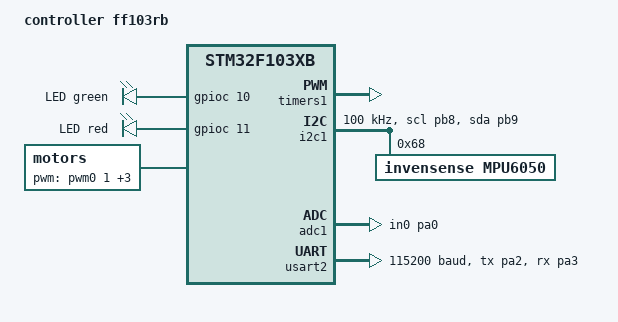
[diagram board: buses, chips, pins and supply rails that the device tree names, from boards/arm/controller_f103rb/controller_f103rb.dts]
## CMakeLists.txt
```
# SPDX-License-Identifier: Apache-2.0

cmake_minimum_required(VERSION 3.13.1)

list(APPEND BOARD_ROOT ${CMAKE_CURRENT_SOURCE_DIR})
find_package(Zephyr REQUIRED HINTS $ENV{ZEPHYR_BASE})
project(app)

target_sources(app PRIVATE src/main.c)
target_sources(app PRIVATE src/controller.c)
target_sources(app PRIVATE src/battery.c)
target_sources(app PRIVATE src/imu.c)

zephyr_include_directories(include)
```

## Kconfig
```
rsource "modules/Kconfig"
rsource "drivers/Kconfig"
```

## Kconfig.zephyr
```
menu "Application options"

rsource "modules/Kconfig"
rsource "drivers/Kconfig"

endmenu
```

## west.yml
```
manifest:
  defaults:
    remote: upstream
  remotes:
    - name: upstream
      url-base: https://github.com/zephyrproject-rtos
    - name: custom
      url-base: https://github.com/MaroMetelski
  projects:
    - name: cmsis
      remote: custom
      revision: 215867ae005e432be1dbcb24c07735d051cd7d29
      path: modules/hal/cmsis
    - name: loramac-node
      revision: 2cee5f7295ff0ff804bf06fea5de006bc7cd121e
      path: modules/lib/loramac-node
    - name: zephyr
      revision: 45eca4ce10a83fffc0c66d9770380cd716150a42
      path: zephyr
      west-commands: scripts/west-commands.yml
    - name: hal_stm32
      revision: 50283e0438d882a80fb681907664491c7042c817
      path: modules/hal/stm32
  self:
    path: app
```

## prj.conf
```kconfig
# serial shell and logs
CONFIG_CONSOLE=y
CONFIG_UART_CONSOLE=y
CONFIG_SHELL=y
CONFIG_SHELL_BACKEND_SERIAL=y
CONFIG_PRINTK=y
CONFIG_LOG_PRINTK=y
CONFIG_LOG=y
CONFIG_LOG_STRDUP_BUF_COUNT=8
CONFIG_LOG_STRDUP_MAX_STRING=128

# new libc
CONFIG_NEWLIB_LIBC=y
CONFIG_NEWLIB_LIBC_FLOAT_PRINTF=y

# threading
CONFIG_THREAD_NAME=y

# maths
CONFIG_CMSIS_DSP=y
CONFIG_CMSIS_DSP_CONTROLLER=y
CONFIG_CMSIS_DSP_FASTMATH=y
CONFIG_CMSIS_DSP_QUATERNIONMATH=y

# mpu6050
CONFIG_MPU6050_TRIGGER_NONE=y

#bcm
CONFIG_BCM=y
CONFIG_BCM_SYS=y
CONFIG_BCM_LOG_LEVEL_DBG=y
```

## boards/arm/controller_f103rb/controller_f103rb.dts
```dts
/dts-v1/;
#include <st/f1/stm32f103Xb.dtsi>
#include <st/f1/stm32f103r(8-b)tx-pinctrl.dtsi>

/ {
  model = "controller ff103rb";
  compatible = "metelski,controller-f103rb";

  chosen {
    zephyr,sram = &sram0;
    zephyr,flash = &flash0;
    zephyr,console = &usart2;
    zephyr,shell-uart = &usart2;
  };

  aliases {
    led0 = &green_led;
    led1 = &red_led;
  };

  leds {
    compatible = "gpio-leds";
    green_led: led_0 {
      gpios = <&gpioc 10 GPIO_ACTIVE_HIGH>;
      label = "LED green";
    };
    red_led: led_1 {
      gpios = <&gpioc 11 GPIO_ACTIVE_HIGH>;
      label = "LED red";
    };
  };

  motors {
    compatible = "motors";
    status = "okay";
    pwms = <&pwm0 1 100000 PWM_POLARITY_NORMAL>,
           <&pwm0 2 100000 PWM_POLARITY_NORMAL>,
           <&pwm0 3 100000 PWM_POLARITY_NORMAL>,
           <&pwm0 4 100000 PWM_POLARITY_NORMAL>;
   };
};

&timers1 {
  status = "okay";
  pwm0: pwm {
    pinctrl-0 = <&tim1_ch1_pwm_pa8 &tim1_ch2_pwm_pa9
                 &tim1_ch3_pwm_pa10 &tim1_ch4_pwm_pa11>;
    status = "okay";
  };
};

&i2c1 {
  status = "okay";
  pinctrl-0 = <&i2c1_scl_pb8 &i2c1_sda_pb9>;
  clock-frequency = <I2C_BITRATE_STANDARD>;

  mpu6050@68 {
    compatible = "invensense,mpu6050";
    reg = <0x68>;
    status = "okay";
    label = "MPU6050";
  };
};

&adc1 {
  pinctrl-0 = <&adc1_in0_pa0>;
  status = "okay";
};

&usart2 {
  pinctrl-0 = <&usart2_tx_pa2 &usart2_rx_pa3>;
  current-speed = <115200>;
  status = "okay";
};

&clk_hsi {
  status = "okay";
};

&pll {
  mul = <8>;
  clocks = <&clk_hsi>;
  status = "okay";
};

&rcc {
  clocks = <&pll>;
  clock-frequency = <DT_FREQ_M(32)>;
  ahb-prescaler = <1>;
  apb1-prescaler = <1>;
  apb2-prescaler = <1>;
  status = "okay";
};
```

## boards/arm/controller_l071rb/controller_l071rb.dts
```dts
/dts-v1/;
#include <st/l0/stm32l071Xb.dtsi>
#include <st/l0/stm32l071r(b-z)tx-pinctrl.dtsi>

/ {
  model = "controller l071rb";
  compatible = "metelski,controller-l071rb";

  chosen {
    zephyr,sram = &sram0;
    zephyr,flash = &flash0;
    zephyr,console = &usart2;
    zephyr,shell-uart = &usart2;
  };

  aliases {
    led0 = &green_led;
    led1 = &red_led;
  };

  leds {
    compatible = "gpio-leds";
    green_led: led_0 {
      gpios = <&gpioc 10 GPIO_ACTIVE_HIGH>;
      label = "LED green";
    };
    red_led: led_1 {
      gpios = <&gpioc 11 GPIO_ACTIVE_HIGH>;
      label = "LED red";
    };
  };

  bcm_sys0: bcm_sys {
    compatible = "sys-bcm";
    status = "okay";
    label = "BCM_0";
    out-gpios = <&gpioa 8 GPIO_ACTIVE_HIGH>,
                <&gpioa 9 GPIO_ACTIVE_HIGH>;
  };
};

&i2c1 {
  status = "okay";
  pinctrl-0 = <&i2c1_scl_pb8 &i2c1_sda_pb9>;
  clock-frequency = <I2C_BITRATE_STANDARD>;

  mpu6050@68 {
    compatible = "invensense,mpu6050";
    reg = <0x68>;
    status = "okay";
    label = "MPU6050";
  };
};

&adc1 {
  pinctrl-0 = <&adc_in0_pa0>;
  status = "okay";
};

&usart2 {
  pinctrl-0 = <&usart2_tx_pa2 &usart2_rx_pa3>;
  current-speed = <115200>;
  status = "okay";
};

&clk_hsi {
  status = "okay";
};

&pll {
  div = <2>;
  mul = <4>;
  clocks = <&clk_hsi>;
  status = "okay";
};

&rcc {
  clocks = <&pll>;
  clock-frequency= <DT_FREQ_M(32)>;
  ahb-prescaler = <1>;
  apb1-prescaler = <1>;
  apb2-prescaler = <1>;
  status = "okay";
};
```

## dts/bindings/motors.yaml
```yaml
description: PWM motors

compatible: "motors"

include: [base.yaml]

properties:
  label:
    required: false

  pwms:
    type: phandle-array
    required: false
    description: >
      PWM outputs for each motor
```

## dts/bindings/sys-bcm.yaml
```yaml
description: software generated BCM signal through system timers

compatible: "sys-bcm"

include: [base.yaml]

properties:
  label:
    required: true

  out-gpios:
    type: phandle-array
    required: false
    description: >
      GPIOs used as BCM signal output
```

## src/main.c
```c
#include <zephyr.h>
#include <logging/log.h>

LOG_MODULE_REGISTER(main);

void main(void)
{
	LOG_INF("Hello world!");
}
```

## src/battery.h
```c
#ifndef __BATTERY_H__
#define __BATTERY_H__

int32_t battery_read(void);

#endif
```

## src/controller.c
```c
#include <device.h>
#include <init.h>
#include <logging/log.h>
#include <zephyr.h>
#include <stdio.h>

#include "battery.h"
#include "imu.h"

LOG_MODULE_REGISTER(controller, LOG_LEVEL_DBG);

K_THREAD_STACK_DEFINE(controller_stack, 2048);
static struct k_thread controller_thread;

struct euler_angles position;

static void controller_thread_start(void *u1, void *u2, void *u3)
{

	LOG_INF("Controller starting...");
	int32_t value;
	char message[100];


	const struct device *dev = DEVICE_DT_GET(DT_NODELABEL(bcm_sys0));

	if (!dev) {
		LOG_ERR("Couldn't initialize BCM");
	}
	while (true) {
		value = battery_read();
		LOG_INF("divider voltage: %d", value);

		imu_get_position(&position);
		position.pitch *= 180.0 / PI;
		position.roll *= 180.0 / PI;
		position.yaw *= 180.0 / PI;

		sprintf(message, "position: %.2f %.2f %.2f\n",
			position.pitch,
			position.roll,
			position.yaw);
		LOG_INF("%s", log_strdup(message));
		k_sleep(K_MSEC(1000));
	}
}


static int controller_init(const struct device *dev)
{
	k_thread_create(&controller_thread, controller_stack,
			K_THREAD_STACK_SIZEOF(controller_stack),
			controller_thread_start, NULL, NULL, NULL,
			50, 0, K_NO_WAIT);
	k_thread_name_set(&controller_thread, "controller");
	return 0;
}

SYS_INIT(controller_init, APPLICATION, 99);
```

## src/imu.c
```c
#include <logging/log.h>
#include <init.h>
#include <zephyr.h>
#include <device.h>
#include <drivers/sensor.h>
#include <stdio.h>

#include <math.h>
#include <arm_math.h>
#include "imu.h"

LOG_MODULE_REGISTER(imu, LOG_LEVEL_DBG);

#define IMU DT_LABEL(DT_INST(0, invensense_mpu6050))

K_MUTEX_DEFINE(imu_lock);

static struct raw_imu_data {
	struct sensor_value accel_xyz[3];
	struct sensor_value gyro_xyz[3];
	struct sensor_value temperature;
} current_raw_imu_data;

static struct imu_data current_imu_data = {
	.accel = {0},
	.gyro = {0},
	.temperature = 0,
};

static struct imu_data errors = {
	.accel = {0},
	.gyro = {0},
	.temperature = 0,
};

static struct euler_angles current_position = {
	.pitch = 0,
	.roll = 0,
	.yaw = 0,
};


static void quaternion2euler(float32_t *q, struct euler_angles *eu)
{
	/**
	 * https://en.wikipedia.org/wiki/Conversion_between_quaternions_and_Euler_angles
	 */

	 float32_t one = 2 * (q[0] * q[1] + q[2] * q[3]);
	 float32_t two = 1 - 2 * (q[2] * q[2]  - q[3] * q[3]);
	 eu->roll = atan2(one, two);

	 float32_t sinp = 2 * (q[0] * q[2] - q[3] * q[1]);
	 if (fabs(sinp) >= 1.0)
		 eu->pitch = copysign(SENSOR_PI / 2, sinp);
	 else
		 eu->pitch = asin(sinp);
	 float32_t three = 2 * (q[0] * q[3] + q[1] * q[2]);
	 float32_t four = 1 - 2 * (q[1] * q[1] - q[3] * q[3]);
	 eu->yaw = atan2(three, four);

}

static float32_t quaternion_current[4] = {1, 0, 0, 0};

static void calculate_current_position(float32_t *q_pos,
				       struct imu_data *data,
				       struct imu_data *errors,
				       int64_t dt)
{

	// derivative quaternion
	float32_t q_dt[4] = {1, 0, 0, 0};
	// angular velocity quaternion
	float32_t q_v[4];
	q_v[0] = 0.0;
	q_v[1] = data->gyro.x - errors->gyro.x;
	q_v[2] = data->gyro.y - errors->gyro.y;
	q_v[3] = data->gyro.z - errors->gyro.z;

	// derivative of quaternion
	// right side `v` when `v` is in body reference frame
	// q_dt = 0.5 * q_pos x q_v
	arm_quaternion_product_single_f32(q_pos, q_v, q_dt);
	for (int i = 0; i < 4; i++) {
		q_dt[i] *= 0.5;
	}

	// DON'T NORMALIZE DT?
	// it's okay to pass the same array here (see function source)
	/* arm_quaternion_normalize_f32(q_dt, q_dt, 1); */

	// integrate, simple euler method
	for (int i = 0; i < 4; i++) {
		q_pos[i] = q_pos[i] + (q_dt[i] * (dt / 1000.0)); // dt ms to s
	}

	// dbg
	/* for (int i = 0; i < 4; i++) { */
	/* 	q_pos[i] = q_v[i]; // dt ms to s */
	/* } */
	arm_quaternion_normalize_f32(q_pos, q_pos, 1);
}

static int imu_read_data(const struct device *dev)
{
	int ret;
	ret = sensor_sample_fetch(dev);

	if (ret == 0) {
		ret = sensor_channel_get(dev, SENSOR_CHAN_ACCEL_XYZ,
					 current_raw_imu_data.accel_xyz);
	}
	if (ret == 0) {
		ret = sensor_channel_get(dev, SENSOR_CHAN_GYRO_XYZ,
					 current_raw_imu_data.gyro_xyz);
	}
	if (ret == 0) {
		ret = sensor_channel_get(dev, SENSOR_CHAN_AMBIENT_TEMP,
					 &current_raw_imu_data.temperature);
	}
	return ret;
}

static void imu_parse_data(struct imu_data *target,
			   struct raw_imu_data *raw)
{
	target->accel.x = sensor_value_to_double(&raw->accel_xyz[0]);
	target->accel.y = sensor_value_to_double(&raw->accel_xyz[1]);
	target->accel.z = sensor_value_to_double(&raw->accel_xyz[2]);
	target->gyro.x = sensor_value_to_double(&raw->gyro_xyz[0]);
	target->gyro.y = sensor_value_to_double(&raw->gyro_xyz[1]);
	target->gyro.z = sensor_value_to_double(&raw->gyro_xyz[2]);
	target->temperature = sensor_value_to_double(&raw->temperature);

}

K_THREAD_STACK_DEFINE(imu_stack, 2048);
static struct k_thread imu_thread;

static void imu_thread_start(void *u1, void *u2, void *u3)
{
	LOG_INF("IMU thread starting...");
	const struct device *dev = device_get_binding(IMU);
	if (!dev) {
		LOG_ERR("Couldn't initialize IMU device");
		return;
	}
	int64_t timestamp = 0;
	int64_t dt = 0;

	float gyro_sumx = 0;
	float gyro_sumy = 0;
	float gyro_sumz = 0;
	int err_samples = 500;
	/* get error values */
	for (int i = 0; i < err_samples; i++)
	{
		k_mutex_lock(&imu_lock, K_FOREVER);
		imu_read_data(dev);
		imu_parse_data(&current_imu_data,
			       &current_raw_imu_data);
		k_mutex_unlock(&imu_lock);
		gyro_sumx += current_imu_data.gyro.x;
		gyro_sumy += current_imu_data.gyro.y;
		gyro_sumz += current_imu_data.gyro.z;
		k_sleep(K_MSEC(10));
	}

	errors.gyro.x = gyro_sumx / err_samples;
	errors.gyro.y = gyro_sumy / err_samples;
	errors.gyro.z = gyro_sumz / err_samples;

	char msg[100];
	sprintf(msg, "error: %f, %f, %f",
		errors.gyro.x,
		errors.gyro.y,
		errors.gyro.z);
	LOG_INF("%s", log_strdup(msg));


	while (true) {
		k_sleep(K_MSEC(10));
		dt = k_uptime_delta(&timestamp);
		imu_read_data(dev);
		k_mutex_lock(&imu_lock, K_FOREVER);
		imu_parse_data(&current_imu_data,
			       &current_raw_imu_data);
		k_mutex_unlock(&imu_lock);
		calculate_current_position(quaternion_current,
					   &current_imu_data,
					   &errors,
					   dt);
		k_mutex_lock(&imu_lock, K_FOREVER);
		quaternion2euler(quaternion_current,
				 &current_position);
		k_mutex_unlock(&imu_lock);
		timestamp = k_uptime_get();
		/* LOG_INF("loop complete, ms=%d", (int)dt); */
	}
}

static int imu_init(const struct device *dev)
{
	k_thread_create(&imu_thread, imu_stack,
			K_THREAD_STACK_SIZEOF(imu_stack),
			imu_thread_start, NULL, NULL, NULL,
			40, 0, K_NO_WAIT);
	k_thread_name_set(&imu_thread, "imu");
	return 0;
}

void imu_get_position(struct euler_angles* data)
{
	k_mutex_lock(&imu_lock, K_FOREVER);
	data->pitch = current_position.pitch;
	data->roll = current_position.roll;
	data->yaw = current_position.yaw;
	k_mutex_unlock(&imu_lock);

}
void imu_get_data(struct imu_data* data)
{
	k_mutex_lock(&imu_lock, K_FOREVER);
	data->gyro = current_imu_data.gyro;
	data->accel = current_imu_data.accel;
	data->temperature = current_imu_data.temperature;
	k_mutex_unlock(&imu_lock);
}

void imu_get_quaternion(float32_t *q)
{
	for (int i = 0; i < 4; i++) {
		q[i] = quaternion_current[i];
	}
}

SYS_INIT(imu_init, APPLICATION, 98);
```
